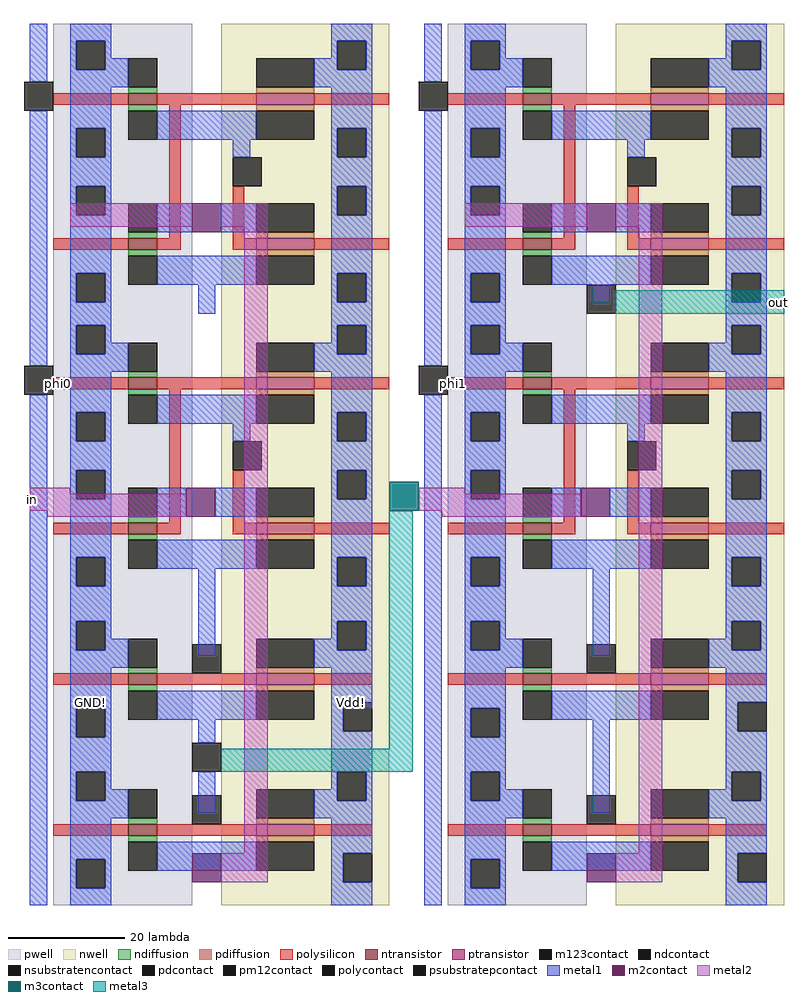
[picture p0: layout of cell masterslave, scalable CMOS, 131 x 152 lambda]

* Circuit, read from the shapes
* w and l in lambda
.subckt masterslave GND! Vdd! in out phi0 phi1
M1 GND! n1 n2 GND! nfet w=5 l=2
M2 GND! tg_0/out n1 GND! nfet w=5 l=2
M3 in phi0 tg_0/out GND! nfet w=5 l=2
M4 GND! phi0 n3 GND! nfet w=5 l=2
M5 n2 phi0 tg_state_1/out GND! nfet w=5 l=2
M6 GND! phi0 n4 GND! nfet w=5 l=2
M7 GND! n5 n6 GND! nfet w=5 l=2
M8 GND! tg_3/out n5 GND! nfet w=5 l=2
M9 n1 phi1 tg_3/out GND! nfet w=5 l=2
M10 GND! phi1 n7 GND! nfet w=5 l=2
M11 n6 phi1 out GND! nfet w=5 l=2
M12 GND! phi1 n8 GND! nfet w=5 l=2
M13 Vdd! n1 n2 Vdd! pfet w=10 l=2
M14 Vdd! tg_0/out n1 Vdd! pfet w=10 l=2
M15 in n3 tg_0/out Vdd! pfet w=10 l=2
M16 Vdd! phi0 n3 Vdd! pfet w=10 l=2
M17 n2 n4 tg_state_1/out Vdd! pfet w=10 l=2
M18 Vdd! phi0 n4 Vdd! pfet w=10 l=2
M19 Vdd! n5 n6 Vdd! pfet w=10 l=2
M20 Vdd! tg_3/out n5 Vdd! pfet w=10 l=2
M21 n1 n7 tg_3/out Vdd! pfet w=10 l=2
M22 Vdd! phi1 n7 Vdd! pfet w=10 l=2
M23 n6 n8 out Vdd! pfet w=10 l=2
M24 Vdd! phi1 n8 Vdd! pfet w=10 l=2
.ends

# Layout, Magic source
magic
tech scmos
<< pwell >>
rect 93 75 96 76
<< polysilicon >>
rect 5 93 7 95
rect 73 93 75 95
<< polycontact >>
rect 0 141 5 146
rect 68 141 73 146
<< metal1 >>
rect 1 146 4 156
rect 1 97 4 141
rect 1 4 4 92
rect 8 56 9 156
rect 69 146 72 156
rect 30 106 33 110
rect 69 97 72 141
rect 30 47 33 61
rect 8 38 15 40
rect 53 38 60 40
rect 30 32 33 38
rect 30 20 33 27
rect 8 4 15 7
rect 53 4 60 6
rect 69 4 72 92
rect 76 56 77 156
rect 98 47 101 61
rect 98 20 101 38
rect 76 4 83 7
rect 121 4 128 6
<< m2contact >>
rect 29 8 34 13
rect 97 8 102 13
<< pm12contact >>
rect 0 92 5 97
rect 68 92 73 97
<< metal2 >>
rect 34 121 42 125
rect 102 121 110 125
rect 1 72 8 76
rect 38 13 42 121
rect 68 72 76 76
rect 106 13 110 121
rect 34 8 42 13
rect 102 8 110 13
<< m3contact >>
rect 63 72 68 77
<< m123contact >>
rect 29 27 34 32
rect 97 106 102 111
<< metal3 >>
rect 102 106 131 110
rect 63 31 67 72
rect 34 27 67 31
use tg  tg_3
transform 1 0 -14 0 1 13
box 86 43 145 94
use tg  tg_0
transform 1 0 -82 0 1 13
box 86 43 145 94
use tg_state  tg_state_1
transform 1 0 -82 0 1 62
box 87 43 145 94
use tg_state  tg_state_0
transform 1 0 -14 0 1 62
box 87 43 145 94
use new_inv  new_inv_1
transform 1 0 -72 0 1 0
box 77 4 135 30
use new_inv  new_inv_0
transform 1 0 -72 0 1 26
box 77 4 135 30
use new_inv  new_inv_2
transform 1 0 -4 0 1 26
box 77 4 135 30
use new_inv  new_inv_3
transform 1 0 -4 0 1 0
box 77 4 135 30
<< labels >>
rlabel polysilicon 74 93 74 95 1 phi1
rlabel polysilicon 6 93 6 95 1 phi0
rlabel metal1 54 39 59 39 1 Vdd!
rlabel metal1 9 39 14 39 1 GND!
rlabel metal2 1 72 2 76 3 in
rlabel metal3 129 106 131 110 7 out
<< end >>

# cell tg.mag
magic
tech scmos
<< nwell >>
rect 116 43 145 94
<< pwell >>
rect 87 43 111 94
<< ntransistor >>
rect 100 80 105 82
rect 100 55 105 57
<< ptransistor >>
rect 122 80 132 82
rect 122 55 132 57
<< ndiffusion >>
rect 100 82 105 83
rect 100 79 105 80
rect 100 57 105 58
rect 100 54 105 55
<< pdiffusion >>
rect 122 82 132 83
rect 122 79 132 80
rect 122 57 132 58
rect 122 54 132 55
<< ndcontact >>
rect 100 83 105 88
rect 100 74 105 79
rect 100 58 105 63
rect 100 49 105 54
<< pdcontact >>
rect 122 83 132 88
rect 122 74 132 79
rect 122 58 132 63
rect 122 49 132 54
<< psubstratepcontact >>
rect 91 86 96 91
rect 91 71 96 76
rect 91 61 96 66
rect 91 46 96 51
<< nsubstratencontact >>
rect 136 86 141 91
rect 136 71 141 76
rect 136 61 141 66
rect 136 46 141 51
<< polysilicon >>
rect 87 80 100 82
rect 105 80 122 82
rect 132 80 145 82
rect 107 57 109 80
rect 87 55 100 57
rect 105 55 109 57
rect 118 57 120 66
rect 118 55 122 57
rect 132 55 145 57
<< polycontact >>
rect 118 66 123 71
<< metal1 >>
rect 90 91 97 94
rect 90 86 91 91
rect 96 88 97 91
rect 135 91 142 94
rect 135 88 136 91
rect 96 86 100 88
rect 90 83 100 86
rect 132 86 136 88
rect 141 86 142 91
rect 132 83 142 86
rect 90 76 97 83
rect 90 71 91 76
rect 96 71 97 76
rect 105 74 122 79
rect 135 76 142 83
rect 90 66 97 71
rect 118 71 121 74
rect 135 71 136 76
rect 141 71 142 76
rect 135 66 142 71
rect 90 61 91 66
rect 96 61 97 66
rect 90 51 97 61
rect 105 58 110 63
rect 115 58 122 63
rect 135 61 136 66
rect 141 61 142 66
rect 90 46 91 51
rect 96 46 97 51
rect 105 49 122 54
rect 135 51 142 61
rect 112 46 115 49
rect 135 46 136 51
rect 141 46 142 51
rect 90 43 97 46
rect 135 43 142 46
<< m2contact >>
rect 110 58 115 63
<< metal2 >>
rect 86 62 90 63
rect 86 58 110 62
<< labels >>
rlabel metal1 112 47 115 47 1 out
rlabel metal1 136 44 141 44 1 Vdd!
rlabel polysilicon 88 80 88 82 3 EN
rlabel metal1 136 92 141 92 5 Vdd!
rlabel metal1 91 92 96 92 5 GND!
rlabel metal1 91 44 96 44 1 GND!
<< end >>

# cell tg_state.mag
magic
tech scmos
<< nwell >>
rect 116 43 145 94
<< pwell >>
rect 87 43 111 94
<< ntransistor >>
rect 100 80 105 82
rect 100 55 105 57
<< ptransistor >>
rect 122 80 132 82
rect 122 55 132 57
<< ndiffusion >>
rect 100 82 105 83
rect 100 79 105 80
rect 100 57 105 58
rect 100 54 105 55
<< pdiffusion >>
rect 122 82 132 83
rect 122 79 132 80
rect 122 57 132 58
rect 122 54 132 55
<< ndcontact >>
rect 100 83 105 88
rect 100 74 105 79
rect 100 58 105 63
rect 100 49 105 54
<< pdcontact >>
rect 122 83 132 88
rect 122 74 132 79
rect 122 58 132 63
rect 122 49 132 54
<< psubstratepcontact >>
rect 91 86 96 91
rect 91 71 96 76
rect 91 61 96 66
rect 91 46 96 51
<< nsubstratencontact >>
rect 136 86 141 91
rect 136 71 141 76
rect 136 61 141 66
rect 136 46 141 51
<< polysilicon >>
rect 87 80 100 82
rect 105 80 122 82
rect 132 80 145 82
rect 107 57 109 80
rect 87 55 100 57
rect 105 55 109 57
rect 118 57 120 66
rect 118 55 122 57
rect 132 55 145 57
<< polycontact >>
rect 118 66 123 71
<< metal1 >>
rect 91 91 97 94
rect 96 88 97 91
rect 135 91 142 94
rect 135 88 136 91
rect 96 86 100 88
rect 91 83 100 86
rect 132 86 136 88
rect 141 86 142 91
rect 132 83 142 86
rect 91 76 97 83
rect 96 71 97 76
rect 105 74 122 79
rect 135 76 142 83
rect 91 66 97 71
rect 118 71 121 74
rect 135 71 136 76
rect 141 71 142 76
rect 135 66 142 71
rect 96 61 97 66
rect 91 51 97 61
rect 105 58 111 63
rect 116 58 122 63
rect 135 61 136 66
rect 141 61 142 66
rect 96 46 97 51
rect 105 49 122 54
rect 135 51 142 61
rect 112 46 115 49
rect 135 46 136 51
rect 141 46 142 51
rect 91 43 97 46
rect 135 43 142 46
<< m2contact >>
rect 111 58 116 63
<< metal2 >>
rect 90 59 111 63
<< labels >>
rlabel metal1 112 47 115 47 1 out
rlabel metal1 136 44 141 44 1 Vdd!
rlabel polysilicon 88 80 88 82 3 EN
rlabel metal1 136 92 141 92 5 Vdd!
rlabel metal1 91 92 96 92 5 GND!
rlabel metal1 91 44 96 44 1 GND!
<< end >>

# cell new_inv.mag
magic
tech scmos
<< nwell >>
rect 106 4 135 30
<< pwell >>
rect 77 4 101 30
<< ntransistor >>
rect 90 16 95 18
<< ptransistor >>
rect 112 16 122 18
<< ndiffusion >>
rect 90 18 95 19
rect 90 15 95 16
<< pdiffusion >>
rect 112 18 122 19
rect 112 15 122 16
<< ndcontact >>
rect 90 19 95 24
rect 90 10 95 15
<< pdcontact >>
rect 112 19 122 24
rect 112 10 122 15
<< psubstratepcontact >>
rect 81 22 86 27
rect 81 7 86 12
<< nsubstratencontact >>
rect 126 22 131 27
rect 127 8 132 13
<< polysilicon >>
rect 77 16 90 18
rect 95 16 112 18
rect 122 16 132 18
<< polycontact >>
rect 101 18 106 23
<< metal1 >>
rect 80 27 87 30
rect 80 22 81 27
rect 86 24 87 27
rect 125 27 132 30
rect 125 24 126 27
rect 86 22 90 24
rect 80 19 90 22
rect 80 12 87 19
rect 122 22 126 24
rect 131 22 132 27
rect 122 19 132 22
rect 80 7 81 12
rect 86 7 87 12
rect 95 10 112 15
rect 125 13 132 19
rect 80 4 87 7
rect 125 8 127 13
rect 125 4 132 8
<< labels >>
rlabel metal1 126 5 131 5 1 Vdd!
rlabel metal1 81 5 86 5 1 GND!
<< end >>
